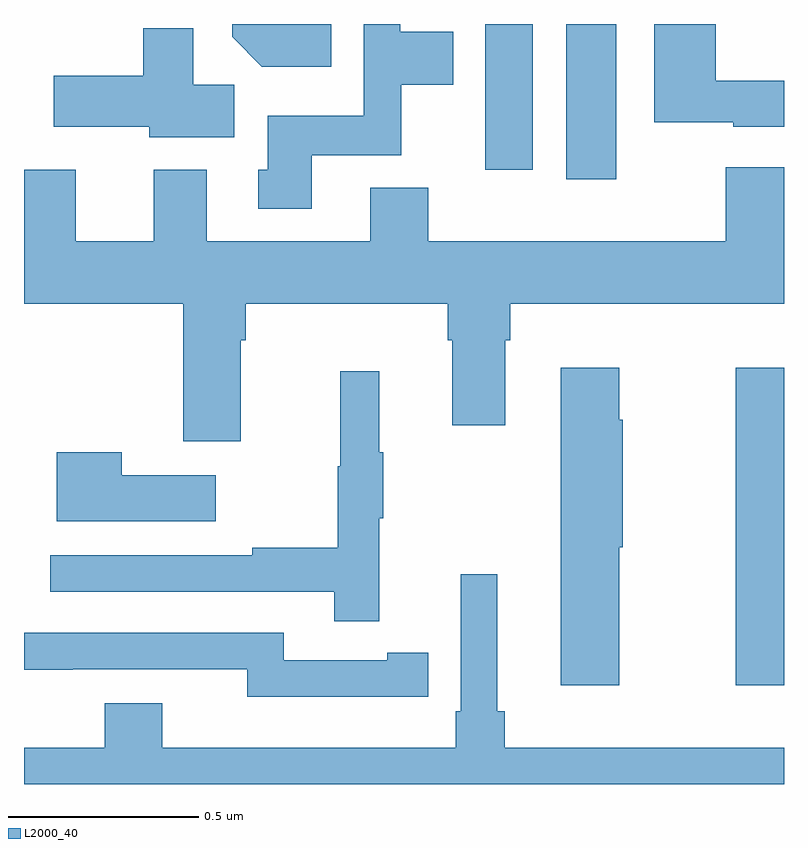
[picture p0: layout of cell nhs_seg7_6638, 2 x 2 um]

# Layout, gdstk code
import gdstk
lib = gdstk.Library(unit=1e-6, precision=1e-09)
def R(c, l, rs):  # rectangles x0, y0, x1, y1
    for r in rs: c.add(gdstk.rectangle(r[:2], r[2:], *l))
def P(c, l, *ps):  # polygons
    for p in ps: c.add(gdstk.Polygon(p, *l))
L2000_40 = (2000, 40)

nhs_seg7_6638 = lib.new_cell('nhs_seg7_6638')
R(nhs_seg7_6638, L2000_40, [(202.873,1018.26,203,1019.095), (202.427,1019.592,202.558,1020), (202.214,1019.616,202.339,1020)])
P(nhs_seg7_6638, L2000_40, [(201.809,1020),(201.548,1020),(201.548,1019.966),(201.626,1019.888),(201.809,1019.888)],
  [(203,1019.851),(202.82,1019.851),(202.82,1020),(202.658,1020),(202.658,1019.741),(202.866,1019.741),(202.866,1019.729),(203,1019.729)],
  [(201.757,1019.654),(201.993,1019.654),(201.993,1019.84),(202.129,1019.84),(202.129,1019.98),(201.99,1019.98),(201.99,1020),(201.894,1020),(201.894,1019.758),(201.641,1019.758),(201.641,1019.616),(201.617,1019.616),(201.617,1019.514),(201.757,1019.514)],
  [(201.553,1019.84),(201.446,1019.84),(201.446,1019.989),(201.314,1019.989),(201.314,1019.864),(201.078,1019.864),(201.078,1019.729),(201.33,1019.729),(201.33,1019.702),(201.553,1019.702)],
  [(201.341,1019.617),(201.341,1019.428),(201.136,1019.428),(201.136,1019.617),(201,1019.617),(201,1019.264),(201.419,1019.264),(201.419,1018.902),(201.571,1018.902),(201.571,1019.168),(201.584,1019.168),(201.584,1019.264),(202.115,1019.264),(202.115,1019.168),(202.127,1019.168),(202.127,1018.944),(202.267,1018.944),(202.267,1019.168),(202.28,1019.168),(202.28,1019.264),(203,1019.264),(203,1019.623),(202.847,1019.623),(202.847,1019.428),(202.064,1019.428),(202.064,1019.569),(201.911,1019.569),(201.911,1019.428),(201.481,1019.428),(201.481,1019.617)],
  [(202.566,1018.623),(202.576,1018.623),(202.576,1018.959),(202.566,1018.959),(202.566,1019.095),(202.412,1019.095),(202.412,1018.26),(202.566,1018.26)],
  [(201.935,1018.699),(201.946,1018.699),(201.946,1018.873),(201.935,1018.873),(201.935,1019.086),(201.832,1019.086),(201.832,1018.836),(201.825,1018.836),(201.825,1018.622),(201.601,1018.622),(201.601,1018.602),(201.069,1018.602),(201.069,1018.506),(201.817,1018.506),(201.817,1018.428),(201.935,1018.428)],
  [(201.505,1018.813),(201.257,1018.813),(201.257,1018.873),(201.086,1018.873),(201.086,1018.691),(201.505,1018.691)],
  [(203,1018.096),(202.265,1018.096),(202.265,1018.192),(202.246,1018.192),(202.246,1018.552),(202.149,1018.552),(202.149,1018.192),(202.136,1018.192),(202.136,1018.096),(201.364,1018.096),(201.364,1018.213),(201.212,1018.213),(201.212,1018.096),(201,1018.096),(201,1018),(203,1018)],
  [(201.956,1018.23),(202.064,1018.23),(202.064,1018.346),(201.956,1018.346),(201.956,1018.326),(201.684,1018.326),(201.684,1018.398),(201,1018.398),(201,1018.301),(201.128,1018.301),(201.128,1018.302),(201.588,1018.302),(201.588,1018.229),(201.956,1018.229)])

lib.write_gds('nhs_seg7_6638.gds')
